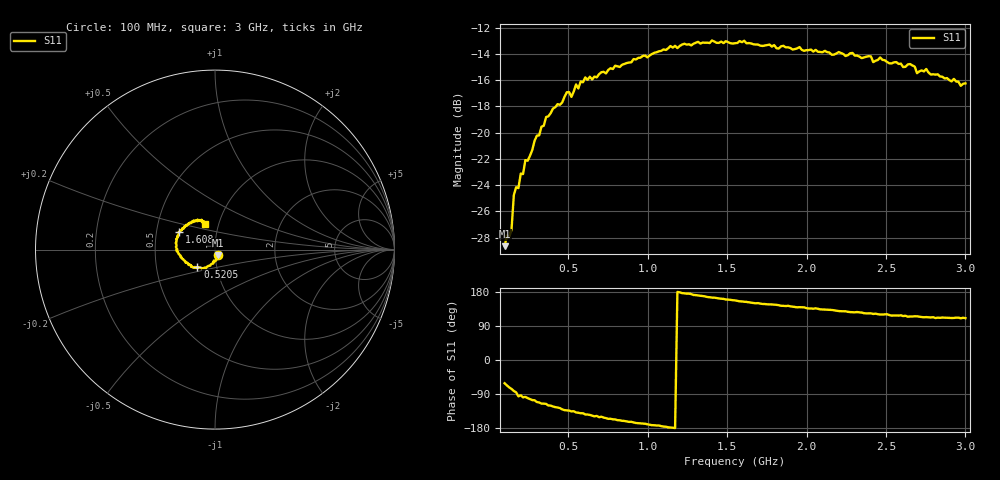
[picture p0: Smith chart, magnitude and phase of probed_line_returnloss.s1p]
! 1-port S-parameter data taken at 201 frequency points
! Created by R&S SxP Library version 0.2.0 at 07-05-2024 10:26:40
# Hz S RI R 50
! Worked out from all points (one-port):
!   201 points, 100 MHz to 3 GHz, reference 50 ohm
!   lowest |S11| = -28.7 dB at 100 MHz (marker M1), VSWR 1.08, Z = 51.7 - j3.35 ohm
!   |S11| at or under -10 dB: start of sweep to end of sweep
!   S11 on the Smith chart (normalised r, x): 100 MHz: 1.03, -0.07; 520.5 MHz: 0.81, -0.16; 1.608 GHz: 0.65, +0.14; 3 GHz: 0.86, +0.25
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1e8  0.0177 -0.0324
1.145e8  0.0157 -0.0374
1.435e8  0.0101 -0.0415
1.58e8  0.00832 -0.0572
1.87e8  -0.00649 -0.0611
2.015e8  -0.00388 -0.0697
2.16e8  -0.0104 -0.0687
2.305e8  -0.0099 -0.078
2.45e8  -0.0143 -0.0768
3.61e8  -0.0499 -0.1032
4.625e8  -0.0844 -0.0993
4.915e8  -0.0969 -0.1045
5.205e8  -0.0979 -0.0958
5.495e8  -0.1143 -0.1013
5.64e8  -0.1114 -0.0965
6.075e8  -0.1308 -0.0962
8.25e8  -0.1663 -0.0636
1.1875e9  -0.2101 0.00163
1.405e9  -0.2167 0.0596
1.55e9  -0.2025 0.0845
1.608e9  -0.201 0.0992
1.9125e9  -0.1605 0.1315
2.275e9  -0.1193 0.1615
2.6375e9  -0.0745 0.1661
2.681e9  -0.0767 0.1614
2.6955e9  -0.072 0.1525
2.7535e9  -0.069 0.1607
3e9  -0.0544 0.1443
